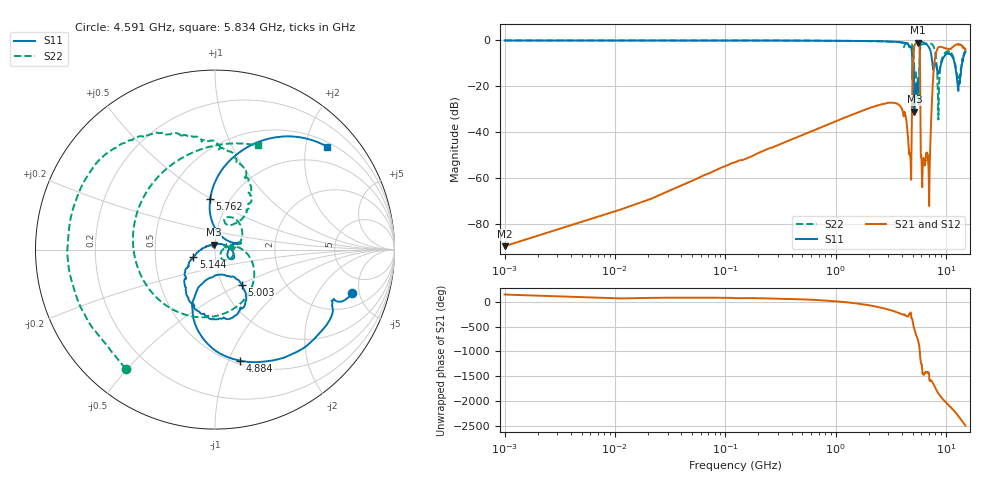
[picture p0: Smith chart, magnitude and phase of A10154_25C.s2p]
!Akoustis s2p Touchstone File
!Script Version: 1.0
!Creation Data: 12/27/2021 at 10:19 PM
! Freq Mag(S11) Angle(S11)Mag(S21) Angle(S21)Mag(S12) Angle(S12)Mag(S22) Angle(S22)
# GHz S MA R 50
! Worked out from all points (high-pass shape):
!   3523 points, 1 MHz to 15.01 GHz, reference 50 ohm
!   highest |S21| = -0.98 dB at 5.546 GHz (marker M1); lowest = -89.5 dB at 1 MHz (marker M2)
!   |S21| within 3 dB of the highest: 5.121 GHz to 5.781 GHz (660.1 MHz wide, 12.1 % of centre); 8.302 GHz to 14.97 GHz (6.671 GHz wide, 57.3 % of centre)
!   lowest |S11| = -31.0 dB at 5.184 GHz (marker M3), VSWR 1.06, Z = 49.2 + j2.67 ohm
!   |S11| at or under -10 dB: 5.09 GHz to 5.766 GHz (676.6 MHz wide, 12.5 % of centre); 7.536 GHz to 9.054 GHz (1.518 GHz wide, 18.3 % of centre); 11.99 GHz to 13.96 GHz (1.969 GHz wide, 15.2 % of centre)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
!   |S22| runs from -34.4 to 0.0 dB; largest |S21 - S12| = 0.0029
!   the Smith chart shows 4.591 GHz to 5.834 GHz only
!   S11 on the Smith chart (normalised r, x): 4.591 GHz: 3.15, -4.27; 4.884 GHz: 0.53, -1.11; 5.003 GHz: 1.23, -0.51; 5.144 GHz: 0.78, -0.07; 5.762 GHz: 0.81, +0.49; 5.834 GHz: 0.60, +2.45
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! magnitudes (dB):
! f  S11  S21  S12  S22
! 1 MHz  0.0  -89.5  -84.7  0.0
! 11.28 MHz  0.0  -73.5  -73.3  0.0
! 31.84 MHz  0.0  -65.1  -65.2  0.0
! 124.4 MHz  0.0  -52.9  -52.9  0.0
! 617.8 MHz  -0.1  -39.3  -39.3  -0.1
! 3.023 GHz  -0.4  -27.1  -27.1  -0.5
! 4.591 GHz  -1.9  -46.5  -46.5  -1.6
! 4.829 GHz  -2.9  -60.3  -60.0  -1.7
! 4.884 GHz  -3.9  -42.7  -42.7  -1.7
! 5.003 GHz  -12.2  -11.3  -11.3  -3.4
! 5.144 GHz  -17.9  -3.2  -3.2  -11.0
! 5.184 GHz  -31.0  -2.3  -2.3  -15.1
! 5.546 GHz  -17.9  -1.0  -1.0  -22.8
! 5.762 GHz  -11.0  -2.7  -2.7  -11.3
! 5.834 GHz  -1.4  -15.3  -15.3  -4.1
! 5.883 GHz  -0.7  -38.4  -38.4  -1.8
! 6.049 GHz  -0.5  -57.4  -57.6  -1.7
! 7.038 GHz  -3.1  -69.6  -70.3  -1.3
! 8.181 GHz  -11.2  -4.9  -4.9  -8.8
! 8.531 GHz  -14.4  -3.1  -3.1  -34.3
! 9.513 GHz  -7.4  -3.2  -3.1  -6.3
! 15.01 GHz  -4.9  -4.1  -4.1  -5.2
